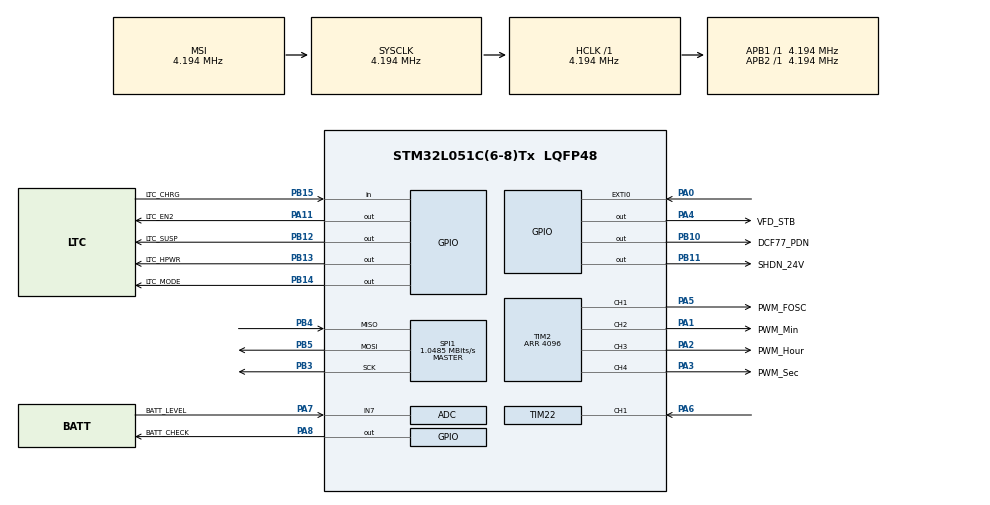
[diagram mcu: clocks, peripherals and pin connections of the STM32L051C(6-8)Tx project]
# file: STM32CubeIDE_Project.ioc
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ADC.LowPowerAutoPowerOff=ENABLE
ADC.LowPowerAutoWait=ENABLE
FREERTOS.Events01=interfaceEvent,Dynamic,NULL
FREERTOS.INCLUDE_uxTaskPriorityGet=0
FREERTOS.INCLUDE_vTaskDelete=0
FREERTOS.INCLUDE_vTaskPrioritySet=0
FREERTOS.Queues01=DCF77_TimeSamplesQueue,2,DCF77_TimeSample_t,0,Dynamic,NULL,NULL
FREERTOS.Tasks01=interfaceTask,24,96,StartInterfaceTask,Default,NULL,Dynamic,NULL,NULL;DCF77Task,32,96,StartDCF77Task,Default,NULL,Dynamic,NULL,NULL
FREERTOS.Timers01=timerButtonPeriodicCheck100ms,TimerCBButtonPeriodicCheck,osTimerPeriodic,Default,NULL,Dynamic,NULL;timerWaitForVDFoff,timerCBWaitForVDFoff,osTimerOnce,Default,NULL,Dynamic,NULL
FREERTOS.configMINIMAL_STACK_SIZE=96
FREERTOS.configRECORD_STACK_HIGH_ADDRESS=0
FREERTOS.configTIMER_TASK_STACK_DEPTH=128
FREERTOS.configTOTAL_HEAP_SIZE=2048
FREERTOS.configUSE_NEWLIB_REENTRANT=1
FREERTOS.configUSE_TICKLESS_IDLE=1
FREERTOS.configUSE_TRACE_FACILITY=0
Mcu.Family=STM32L0
Mcu.Name=STM32L051C(6-8)Tx
Mcu.Package=LQFP48
Mcu.UserConstants=RTC_CAL_CALM_VALUE,93
NVIC.EXTI0_1_IRQn=true\:3\:0\:false\:false\:true\:true\:true\:true\:true
NVIC.RTC_IRQn=true\:3\:0\:false\:false\:true\:true\:true\:true\:true
NVIC.TIM22_IRQn=true\:3\:0\:false\:false\:true\:true\:true\:true\:true
NVIC.TIM6_DAC_IRQn=true\:3\:0\:false\:false\:true\:false\:false\:true\:true
NVIC.TimeBase=TIM6_DAC_IRQn
NVIC.TimeBaseIP=TIM6
PA0.GPIO_ModeDefaultEXTI=GPIO_MODE_IT_FALLING
PA0.Signal=GPXTI0
PA1.GPIO_Label=PWM_Min
PA1.Signal=S_TIM2_CH2
PA11.GPIO_Label=LTC_EN2
PA11.Signal=GPIO_Output
PA13.Mode=Serial_Wire
PA13.Signal=SYS_SWDIO
PA14.Mode=Serial_Wire
PA14.Signal=SYS_SWCLK
PA2.GPIO_Label=PWM_Hour
PA2.Signal=S_TIM2_CH3
PA3.GPIO_Label=PWM_Sec
PA3.Signal=S_TIM2_CH4
PA4.GPIO_Label=VFD_STB
PA4.PinState=GPIO_PIN_SET
PA4.Signal=GPIO_Output
PA5.GPIO_Label=PWM_FOSC
PA5.Signal=S_TIM2_CH1
PA6.Signal=S_TIM22_CH1
PA7.GPIO_Label=BATT_LEVEL
PA7.Mode=IN7
PA7.Signal=ADC_IN7
PA8.GPIO_Label=BATT_CHECK
PA8.Signal=GPIO_Output
PB10.GPIO_Label=DCF77_PDN
PB10.PinState=GPIO_PIN_SET
PB10.Signal=GPIO_Output
PB11.GPIO_Label=SHDN_24V
PB11.Signal=GPIO_Output
PB12.GPIO_Label=LTC_SUSP
PB12.Signal=GPIO_Output
PB13.GPIO_Label=LTC_HPWR
PB13.Signal=GPIO_Output
PB14.GPIO_Label=LTC_MODE
PB14.Signal=GPIO_Output
PB15.GPIO_Label=LTC_CHRG
PB15.GPIO_PuPd=GPIO_PULLUP
PB15.Signal=GPIO_Input
PB3.Mode=Full_Duplex_Master
PB3.Signal=SPI1_SCK
PB4.Mode=Full_Duplex_Master
PB4.Signal=SPI1_MISO
PB5.Mode=Full_Duplex_Master
PB5.Signal=SPI1_MOSI
PC14-OSC32_IN.Mode=LSE-External-Oscillator
PC14-OSC32_IN.Signal=RCC_OSC32_IN
PC15-OSC32_OUT.Mode=LSE-External-Oscillator
PC15-OSC32_OUT.Signal=RCC_OSC32_OUT
ProjectManager.HeapSize=0x200
ProjectManager.StackSize=0x400
ProjectManager.TargetToolchain=CMake
RCC.ADCFreq_Value=16000000
RCC.AHBFreq_Value=4194000
RCC.APB1Freq_Value=4194000
RCC.APB1TimFreq_Value=4194000
RCC.APB2Freq_Value=4194000
RCC.APB2TimFreq_Value=4194000
RCC.HCLKFreq_Value=4194000
RCC.HSE_VALUE=8000000
RCC.HSI16_VALUE=16000000
RCC.HSI_VALUE=16000000
RCC.MSIClockRange=RCC_MSIRANGE_6
RCC.MSI_VALUE=4194000
RCC.PLLMUL=RCC_PLLMUL_4
RCC.PWR_Regulator_Voltage_Scale=PWR_REGULATOR_VOLTAGE_SCALE3
RCC.RTCClockSelection=RCC_RTCCLKSOURCE_LSE
RCC.RTCClockSelectionVirtual=RCC_RTCCLKSOURCE_LSE
RCC.SYSCLKFreq_VALUE=4194000
RCC.VCOOutputFreq_Value=64000000
RCC.VDD_VALUE=3
RTC.Alarm-Alarm\ A=RTC_ALARM_A
RTC.AlarmDateWeekDaySel-Alarm\ A=RTC_ALARMDATEWEEKDAYSEL_DATE
RTC.AlarmMaskDateWeekDay-Alarm\ A=RTC_ALARMMASK_DATEWEEKDAY
RTC.AlarmSubSecondMask-Alarm\ A=RTC_ALARMSUBSECONDMASK_NONE
RTC.Format=RTC_FORMAT_BIN
RTC.HourFormat=RTC_HOURFORMAT_12
RTC.Hours=1
RTC.Hours_A-Alarm\ A=2
RTC.Minutes=59
RTC.WakeUpClock-WakeUp=RTC_WAKEUPCLOCK_CK_SPRE_16BITS
RTC.WakeUpCounter-WakeUp=0
SH.S_TIM22_CH1.0=TIM22_CH1,PWM_Input_1
SH.S_TIM2_CH1.0=TIM2_CH1,PWM Generation1 CH1
SH.S_TIM2_CH2.0=TIM2_CH2,PWM Generation2 CH2
SH.S_TIM2_CH3.0=TIM2_CH3,PWM Generation3 CH3
SH.S_TIM2_CH4.0=TIM2_CH4,PWM Generation4 CH4
SPI1.BaudRatePrescaler=SPI_BAUDRATEPRESCALER_4
SPI1.CLKPhase=SPI_PHASE_2EDGE
SPI1.CLKPolarity=SPI_POLARITY_HIGH
SPI1.CalculateBaudRate=1.0485 MBits/s
SPI1.Direction=SPI_DIRECTION_2LINES
SPI1.FirstBit=SPI_FIRSTBIT_LSB
SPI1.Mode=SPI_MODE_MASTER
SPI1.TIMode=SPI_TIMODE_DISABLE
SPI1.VirtualType=VM_MASTER
TIM2.Channel-PWM\ Generation1\ CH1=TIM_CHANNEL_1
TIM2.Channel-PWM\ Generation2\ CH2=TIM_CHANNEL_2
TIM2.Channel-PWM\ Generation3\ CH3=TIM_CHANNEL_3
TIM2.Channel-PWM\ Generation4\ CH4=TIM_CHANNEL_4
TIM2.Period=4096
TIM2.Pulse-PWM\ Generation1\ CH1=2048
TIM2.Pulse-PWM\ Generation4\ CH4=0
TIM22.AutoReloadPreload=TIM_AUTORELOAD_PRELOAD_ENABLE
TIM22.ICPolarity_1=TIM_INPUTCHANNELPOLARITY_FALLING
TIM22.Period=65535
TIM22.Prescaler=4096-1
VP_FREERTOS_VS_CMSIS_V2.Mode=CMSIS_V2
VP_RTC_VS_RTC_Activate.Mode=RTC_Enabled
VP_RTC_VS_RTC_Alarm_A_Intern.Mode=Alarm A
VP_RTC_VS_RTC_Calendar.Mode=RTC_Calendar
VP_RTC_VS_RTC_WakeUp_intern.Mode=WakeUp
VP_SYS_VS_tim6.Mode=TIM6
VP_TIM22_VS_ClockSourceINT.Mode=Internal
board=custom

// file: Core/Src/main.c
/* USER CODE BEGIN Header */
/**
  ******************************************************************************
  * @file           : main.c
  * @brief          : Main program body
  ******************************************************************************
  * @attention
  *
  * Copyright (c) 2022 STMicroelectronics.
  * All rights reserved.
  *
  * This software is licensed under terms that can be found in the LICENSE file
  * in the root directory of this software component.
  * If no LICENSE file comes with this software, it is provided AS-IS.
  *
  ******************************************************************************
  */
/* USER CODE END Header */
#include "main.h"
#include "cmsis_os.h"
#include "adc.h"
#include "rtc.h"
#include "spi.h"
#include "tim.h"
#include "gpio.h"

/* USER CODE BEGIN Includes */
#include "powerManagement.h"
/* USER CODE END Includes */

void SystemClock_Config(void);
void MX_FREERTOS_Init(void);

int main(void)
{

  /* MCU Configuration--------------------------------------------------------*/

  /* Reset of all peripherals, Initializes the Flash interface and the Systick. */
  HAL_Init();

  /* Configure the system clock */
  SystemClock_Config();

  /* Initialize all configured peripherals */
  MX_GPIO_Init();
  MX_RTC_Init();
  MX_SPI1_Init();
  MX_TIM2_Init();
  MX_ADC_Init();
  MX_TIM22_Init();
  /* USER CODE BEGIN 2 */
  LTC_SetBurstMode();	/* Use burst mode in general use - power efficiency is better by 1mA */
  /* USER CODE END 2 */

  /* Init scheduler */
  osKernelInitialize();  /* Call init function for freertos objects (in cmsis_os2.c) */
  MX_FREERTOS_Init();

  /* Start scheduler */
  osKernelStart();

  /* We should never get here as control is now taken by the scheduler */

  /* Infinite loop */
  while (1)
  {

  }
}

void SystemClock_Config(void)
{
  RCC_OscInitTypeDef RCC_OscInitStruct = {0};
  RCC_ClkInitTypeDef RCC_ClkInitStruct = {0};
  RCC_PeriphCLKInitTypeDef PeriphClkInit = {0};

  /** Configure the main internal regulator output voltage
  */
  __HAL_PWR_VOLTAGESCALING_CONFIG(PWR_REGULATOR_VOLTAGE_SCALE3);

  /** Configure LSE Drive Capability
  */
  HAL_PWR_EnableBkUpAccess();
  __HAL_RCC_LSEDRIVE_CONFIG(RCC_LSEDRIVE_LOW);

  /** Initializes the RCC Oscillators according to the specified parameters
  * in the RCC_OscInitTypeDef structure.
  */
  RCC_OscInitStruct.OscillatorType = RCC_OSCILLATORTYPE_LSE|RCC_OSCILLATORTYPE_MSI;
  RCC_OscInitStruct.LSEState = RCC_LSE_ON;
  RCC_OscInitStruct.MSIState = RCC_MSI_ON;
  RCC_OscInitStruct.MSICalibrationValue = 0;
  RCC_OscInitStruct.MSIClockRange = RCC_MSIRANGE_6;
  RCC_OscInitStruct.PLL.PLLState = RCC_PLL_NONE;
  if (HAL_RCC_OscConfig(&RCC_OscInitStruct) != HAL_OK)
  {
    Error_Handler();
  }

  /** Initializes the CPU, AHB and APB buses clocks
  */
  RCC_ClkInitStruct.ClockType = RCC_CLOCKTYPE_HCLK|RCC_CLOCKTYPE_SYSCLK
                              |RCC_CLOCKTYPE_PCLK1|RCC_CLOCKTYPE_PCLK2;
  RCC_ClkInitStruct.SYSCLKSource = RCC_SYSCLKSOURCE_MSI;
  RCC_ClkInitStruct.AHBCLKDivider = RCC_SYSCLK_DIV1;
  RCC_ClkInitStruct.APB1CLKDivider = RCC_HCLK_DIV1;
  RCC_ClkInitStruct.APB2CLKDivider = RCC_HCLK_DIV1;

  if (HAL_RCC_ClockConfig(&RCC_ClkInitStruct, FLASH_LATENCY_0) != HAL_OK)
  {
    Error_Handler();
  }
  PeriphClkInit.PeriphClockSelection = RCC_PERIPHCLK_RTC;
  PeriphClkInit.RTCClockSelection = RCC_RTCCLKSOURCE_LSE;
  if (HAL_RCCEx_PeriphCLKConfig(&PeriphClkInit) != HAL_OK)
  {
    Error_Handler();
  }
}

void HAL_TIM_PeriodElapsedCallback(TIM_HandleTypeDef *htim)
{
  if (htim->Instance == TIM6)
  {
    HAL_IncTick();
  }
}

void Error_Handler(void)
{
  __disable_irq();
  while (1)
  {
  }
}

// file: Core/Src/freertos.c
/* USER CODE BEGIN Header */
/**
  ******************************************************************************
  * File Name          : freertos.c
  * Description        : Code for freertos applications
  ******************************************************************************
  * @attention
  *
  * Copyright (c) 2022 STMicroelectronics.
  * All rights reserved.
  *
  * This software is licensed under terms that can be found in the LICENSE file
  * in the root directory of this software component.
  * If no LICENSE file comes with this software, it is provided AS-IS.
  *
  ******************************************************************************
  */
/* USER CODE END Header */

#include "FreeRTOS.h"
#include "task.h"
#include "main.h"
#include "cmsis_os.h"

/* USER CODE BEGIN Includes */
#include "stdio.h"
#include "stdbool.h"
#include "rtc.h"
#include "interface.h"
#include "needle.h"
#include "vfd.h"
#include "dcf77.h"
#include "powerManagement.h"

/* USER CODE END Includes */

/* USER CODE BEGIN Variables */
static bool showingDate = false;

/* USER CODE END Variables */
/* Definitions for interfaceTask */
osThreadId_t interfaceTaskHandle;
const osThreadAttr_t interfaceTask_attributes = {
  .name = "interfaceTask",
  .stack_size = 96 * 4,
  .priority = (osPriority_t) osPriorityNormal,
};
/* Definitions for DCF77Task */
osThreadId_t DCF77TaskHandle;
const osThreadAttr_t DCF77Task_attributes = {
  .name = "DCF77Task",
  .stack_size = 96 * 4,
  .priority = (osPriority_t) osPriorityAboveNormal,
};
/* Definitions for DCF77_TimeSamplesQueue */
osMessageQueueId_t DCF77_TimeSamplesQueueHandle;
const osMessageQueueAttr_t DCF77_TimeSamplesQueue_attributes = {
  .name = "DCF77_TimeSamplesQueue"
};
/* Definitions for timerButtonPeriodicCheck100ms */
osTimerId_t timerButtonPeriodicCheck100msHandle;
const osTimerAttr_t timerButtonPeriodicCheck100ms_attributes = {
  .name = "timerButtonPeriodicCheck100ms"
};
/* Definitions for timerWaitForVDFoff */
osTimerId_t timerWaitForVDFoffHandle;
const osTimerAttr_t timerWaitForVDFoff_attributes = {
  .name = "timerWaitForVDFoff"
};
/* Definitions for interfaceEvent */
osEventFlagsId_t interfaceEventHandle;
const osEventFlagsAttr_t interfaceEvent_attributes = {
  .name = "interfaceEvent"
};

/* USER CODE BEGIN FunctionPrototypes */
static void enableNoiseSuppress();
static void disableNoiseSuppress();
/* USER CODE END FunctionPrototypes */

void StartInterfaceTask(void *argument);
void StartDCF77Task(void *argument);
void TimerCBButtonPeriodicCheck(void *argument);
void timerCBWaitForVDFoff(void *argument);

void MX_FREERTOS_Init(void); /* (MISRA C 2004 rule 8.1) */

/* USER CODE BEGIN PREPOSTSLEEP */
__weak void PreSleepProcessing(uint32_t *ulExpectedIdleTime)
{
/* place for user code */
}

__weak void PostSleepProcessing(uint32_t *ulExpectedIdleTime)
{
/* place for user code */
}
/* USER CODE END PREPOSTSLEEP */

void MX_FREERTOS_Init(void) {

  /* Create the timer(s) */
  /* creation of timerButtonPeriodicCheck100ms */
  timerButtonPeriodicCheck100msHandle = osTimerNew(TimerCBButtonPeriodicCheck, osTimerPeriodic, NULL, &timerButtonPeriodicCheck100ms_attributes);

  /* creation of timerWaitForVDFoff */
  timerWaitForVDFoffHandle = osTimerNew(timerCBWaitForVDFoff, osTimerOnce, NULL, &timerWaitForVDFoff_attributes);

  /* Create the queue(s) */
  /* creation of DCF77_TimeSamplesQueue */
  DCF77_TimeSamplesQueueHandle = osMessageQueueNew (2, sizeof(DCF77_TimeSample_t), &DCF77_TimeSamplesQueue_attributes);

  /* Create the thread(s) */
  /* creation of interfaceTask */
  interfaceTaskHandle = osThreadNew(StartInterfaceTask, NULL, &interfaceTask_attributes);

  /* creation of DCF77Task */
  DCF77TaskHandle = osThreadNew(StartDCF77Task, NULL, &DCF77Task_attributes);

  /* Create the event(s) */
  /* creation of interfaceEvent */
  interfaceEventHandle = osEventFlagsNew(&interfaceEvent_attributes);

}

void StartInterfaceTask(void *argument)
{
  /* USER CODE BEGIN StartInterfaceTask */
	uint32_t receivedInterfaceFlag = 0;
	const uint32_t VFD_WAKE_TIME = 1000 * 30;	// 1000 tick * 30 -> ~30 sec
	RTC_TimeTypeDef currentTime = {0};
	RTC_DateTypeDef currentDate = {0};

	NDL_EnableAllNeedles();

  /* Infinite loop */
	for(;;)
	{
		receivedInterfaceFlag = osEventFlagsWait(interfaceEventHandle, flagsWithUnblockAbility, osFlagsWaitAny, osWaitForever);
		switch(receivedInterfaceFlag)
		{
		case INTERFACE_SECOND_FLAG:
			HAL_RTC_GetTime(&hrtc, &currentTime, RTC_FORMAT_BIN);
			HAL_RTC_GetDate(&hrtc, &currentDate, RTC_FORMAT_BIN);
			NDL_SetAllNeedles(currentTime);

			if(showingDate == true)
			{
				IF_ShowDateOnVFD(currentDate);
			}
			break;
		case INTERFACE_BUTTON_PRESS_FLAG:
			if(showingDate == false)
			{
				VFD_PowerOnAndInitialize();
			}
			showingDate = true;

			osTimerStart(timerWaitForVDFoffHandle, VFD_WAKE_TIME);
			osTimerStart(timerButtonPeriodicCheck100msHandle, 100);
			break;
		case INTERFACE_BUTTON_HOLD_FLAG:
		case INTERFACE_2AM_FLAG:
			showingDate = false;
			osTimerStop(timerWaitForVDFoffHandle);

			osThreadResume(DCF77TaskHandle);
			osThreadSuspend(interfaceTaskHandle);
		break;
		}

		osDelay(1);
	}
  /* USER CODE END StartInterfaceTask */
}

void StartDCF77Task(void *argument)
{
  /* USER CODE BEGIN StartDCF77Task */
	RTC_TimeTypeDef timeToSet = {0};
	RTC_DateTypeDef dateToSet = {0};
  /* Infinite loop */

  osThreadSuspend(DCF77TaskHandle);

  for(;;)
  {
	  enableNoiseSuppress();

	  DCF77_Initialize();
	  if (SUCCESS == DCF77_GetTimeAndDate(&timeToSet, &dateToSet))
	  {
      HAL_StatusTypeDef RTC_set_result;

		  RTC_set_result = HAL_RTC_SetTime(&hrtc, &timeToSet, RTC_FORMAT_BIN);
      if(RTC_set_result != HAL_OK)
        continue;

		  RTC_set_result = HAL_RTC_SetDate(&hrtc, &dateToSet, RTC_FORMAT_BIN);
      if(RTC_set_result != HAL_OK)
        continue;
	  }
	  DCF77_DeInitialize();

	  disableNoiseSuppress();
	  osThreadResume(interfaceTaskHandle);
	  osThreadSuspend(DCF77TaskHandle);
	  osDelay(1);
  }
  /* USER CODE END StartDCF77Task */
}

/* TimerCBButtonPeriodicCheck function */
void TimerCBButtonPeriodicCheck(void *argument)
{
  /* USER CODE BEGIN TimerCBButtonPeriodicCheck */
	static uint8_t functionEntryCount = 0;
	const uint8_t waitCycles = 30;

	GPIO_PinState buttonStatus = HAL_GPIO_ReadPin(GPIOA, GPIO_PIN_0);
	functionEntryCount++;

	if (functionEntryCount > waitCycles)	// Button is held for long time ~ 3 sec
	{
		functionEntryCount = 0;
		osTimerStop(timerButtonPeriodicCheck100msHandle);
		osEventFlagsSet(interfaceEventHandle, INTERFACE_BUTTON_HOLD_FLAG);
	}

	if(buttonStatus == GPIO_PIN_SET)	// Button is de-pressed
	{
		functionEntryCount = 0;
		osTimerStop(timerButtonPeriodicCheck100msHandle);
	}
  /* USER CODE END TimerCBButtonPeriodicCheck */
}

/* timerCBWaitForVDFoff function */
void timerCBWaitForVDFoff(void *argument)
{
  /* USER CODE BEGIN timerCBWaitForVDFoff */
	VFD_PowerOffAndDeinitialize();
	showingDate = false;
  /* USER CODE END timerCBWaitForVDFoff */
}

/* USER CODE BEGIN Application */
static void enableNoiseSuppress()
{
	NDL_DisableAllNeedles();
	VFD_PowerOffAndDeinitialize();
	LTC_SetPulseSkipMode();
}

static void disableNoiseSuppress()
{
	LTC_SetBurstMode();
	NDL_EnableAllNeedles();
}
/* USER CODE END Application */
